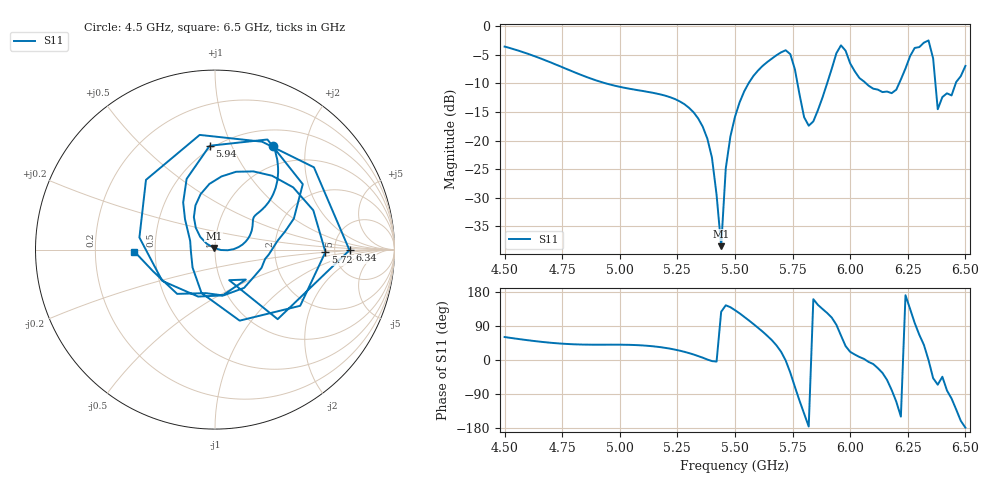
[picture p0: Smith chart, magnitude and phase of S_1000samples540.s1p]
! TOUCHSTONE file generated by CST MICROWAVE STUDIO
! Date and time: Fri Oct 28 12:47:28 2022
! Project name: L.cst
! Parameters = {Di=1.27; Epsilon_r=1.56; InnerDiameter=1.27; Length=2; Lf=10; Lg=60; OuterConductorThickness=0.2921; OuterDiameter=3.6; Wf=3; Wp=41.2; de=1.5; df=6.8; g=0.8; gx=0.752599; gy=2.11958; h=2.34; hf=1.524; px=11.27; py=14.1855; w=9.7; wx=10.5174; wy=12.0659}
! Header version: 2018
! Port assignment regex: !\s*Touchstone port\s*([0-9]+)\s*=\s*(CST MWS port|CST DS port)\s*([0-9]+|Zmin|Zmax)\s*\(\"(.*)\"\)(\s*mode\s*([0-9]+))?.*
! Touchstone port assignment:
! Touchstone port 1 = CST MWS port 1 ("")
# GHz S DB R 50
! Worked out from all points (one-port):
!   101 points, 4.5 GHz to 6.5 GHz, reference 50 ohm
!   lowest |S11| = -38.5 dB at 5.44 GHz (marker M1), VSWR 1.02, Z = 49.3 + j0.934 ohm
!   |S11| at or under -10 dB: 4.938 GHz to 5.559 GHz (620.8 MHz wide, 11.8 % of centre); 5.771 GHz to 5.9 GHz (128.7 MHz wide, 2.21 % of centre); 6.069 GHz to 6.212 GHz (143.9 MHz wide, 2.34 % of centre) (the widest 3 of 4)
!   S11 on the Smith chart (normalised r, x): 4.5 GHz: 0.71, +1.46; 5.72 GHz: 4.19, -0.18; 5.94 GHz: 0.48, +0.83; 6.34 GHz: 6.98, -0.11; 6.5 GHz: 0.38, -0.01
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4.5  -3.58 60.7
4.76  -7.35 42.7
5  -10.61 40.4
5.26  -13.16 24.7
5.38  -19.67 1.2
5.4  -23.00 -2.9
5.44  -38.48 127.3
5.46  -24.84 144.4
5.5  -15.84 131.4
5.64  -6.28 63.9
5.72  -4.22 -1.3
5.76  -7.56 -70.8
5.82  -17.42 -175.6
5.94  -4.74 92.9
5.98  -4.29 36.7
6  -6.52 21.5
6.14  -11.53 -34.0
6.2  -11.12 -109.8
6.26  -5.25 134.7
6.28  -3.81 97.6
6.3  -3.66 66.5
6.32  -2.89 39.8
6.34  -2.51 -0.3
6.36  -5.65 -48.0
6.38  -14.53 -65.1
6.4  -12.41 -44.2
6.46  -9.78 -130.5
6.5  -6.96 -178.5
